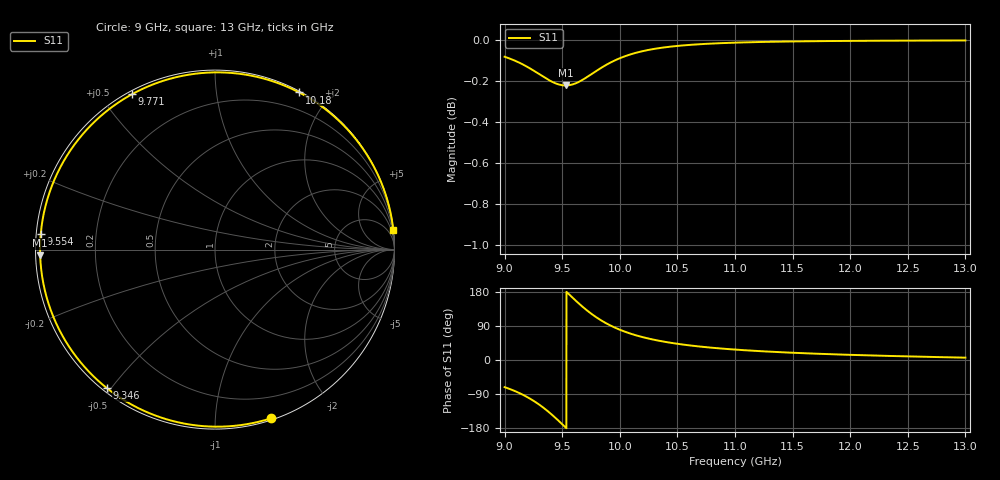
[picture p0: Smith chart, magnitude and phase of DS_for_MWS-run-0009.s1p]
! TOUCHSTONE file generated by CST DESIGN STUDIO
! Date and time: Tue Feb  4 13:01:06 2025
! Project name: C:\Work\MatlabApps\UnitCellOptimizationMatlab\CST\unitcell.cst
! Tree item: Tasks\Sweep1\SPara1\S-Parameters
! Header version: 2024
! Port assignment regex: !\s*Touchstone port\s*([0-9]+)\s*=\s*(CST MWS port|CST DES external port|CST DES block port)\s*(.+)\s* \(\"(.*)\"\)(\s*mode\s*([0-9]+))?.*
! Touchstone port assignment:
! Touchstone port 1 = CST DES external port 1 ("")
# GHz S MA R 50
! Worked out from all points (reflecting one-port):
!   4001 points, 9 GHz to 13 GHz, reference 50 ohm
!   lowest |S11| = -0.2 dB at 9.53 GHz (marker M1), VSWR 77.77, Z = 0.643 - j0.811 ohm
!   phase of S11 starts at -72 deg and turns -282 deg over the sweep
!   S11 on the Smith chart (normalised r, x): 9 GHz: 0.01, -1.39; 9.346 GHz: 0.01, -0.49; 9.554 GHz: 0.01, +0.05; 9.771 GHz: 0.01, +0.60; 10.18 GHz: 0.01, +1.67; 13 GHz: 0, +18
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9  0.9904 -71.6
9.096  0.988 -82.8
9.203  0.9846 -98.9
9.278  0.9817 -113.0
9.346  0.979 -128.1
9.419  0.9764 -146.6
9.461  0.9753 -158.2
9.5  0.9747 -169.4
9.53  0.9746 -178.1
9.554  0.9747 174.8
9.608  0.9756 159.3
9.669  0.9774 142.5
9.72  0.9794 129.7
9.771  0.9815 118.0
9.819  0.9835 108.2
9.872  0.9856 98.5
9.931  0.9876 89.2
10  0.9896 79.9
10.086  0.9916 70.3
10.179  0.9932 61.9
10.326  0.995 51.6
10.5  0.9964 42.7
10.721  0.9975 34.7
11  0.9982 27.5
11.5  0.9989 19.1
12  0.9992 13.6
12.5  0.9994 9.5
13  0.9995 6.2
